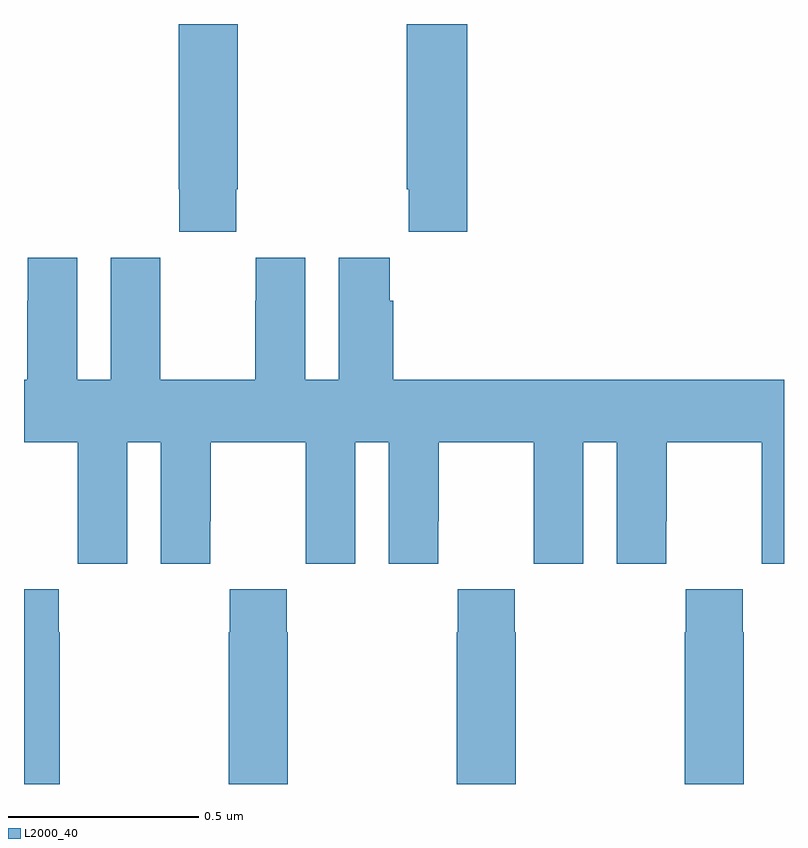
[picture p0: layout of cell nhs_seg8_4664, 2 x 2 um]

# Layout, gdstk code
import gdstk
lib = gdstk.Library(unit=1e-6, precision=1e-09)
def P(c, l, *ps):  # polygons
    for p in ps: c.add(gdstk.Polygon(p, *l))
L2000_40 = (2000, 40)

nhs_seg8_4664 = lib.new_cell('nhs_seg8_4664')
P(nhs_seg8_4664, L2000_40, [(173.559,1150.465),(173.562,1150.465),(173.562,1150.9),(173.407,1150.9),(173.407,1150.465),(173.409,1150.465),(173.409,1150.353),(173.559,1150.353)],
  [(174.167,1150.9),(174.007,1150.9),(174.007,1150.465),(174.013,1150.465),(174.013,1150.353),(174.167,1150.353)],
  [(173.272,1149.8),(173.36,1149.8),(173.36,1149.48),(173.49,1149.48),(173.49,1149.592),(173.491,1149.592),(173.491,1149.8),(173.741,1149.8),(173.741,1149.592),(173.742,1149.592),(173.742,1149.48),(173.872,1149.48),(173.872,1149.8),(173.96,1149.8),(173.96,1149.48),(174.09,1149.48),(174.09,1149.592),(174.091,1149.592),(174.091,1149.8),(174.341,1149.8),(174.341,1149.592),(174.342,1149.592),(174.342,1149.48),(174.472,1149.48),(174.472,1149.8),(174.56,1149.8),(174.56,1149.48),(174.69,1149.48),(174.69,1149.592),(174.691,1149.592),(174.691,1149.8),(174.941,1149.8),(174.941,1149.592),(174.942,1149.592),(174.942,1149.48),(175,1149.48),(175,1149.964),(173.972,1149.964),(173.972,1150.172),(173.962,1150.172),(173.962,1150.285),(173.828,1150.285),(173.828,1149.964),(173.74,1149.964),(173.74,1150.285),(173.61,1150.285),(173.61,1150.172),(173.609,1150.172),(173.609,1149.964),(173.359,1149.964),(173.359,1150.172),(173.358,1150.172),(173.358,1150.285),(173.228,1150.285),(173.228,1149.964),(173.14,1149.964),(173.14,1150.285),(173.01,1150.285),(173.01,1150.172),(173.009,1150.172),(173.009,1149.964),(173,1149.964),(173,1149.8),(173.141,1149.8),(173.141,1149.592),(173.142,1149.592),(173.142,1149.48),(173.272,1149.48)],
  [(173.694,1149.299),(173.691,1149.299),(173.691,1149.412),(173.541,1149.412),(173.541,1149.299),(173.539,1149.299),(173.539,1148.9),(173.694,1148.9)],
  [(174.294,1149.299),(174.291,1149.299),(174.291,1149.412),(174.141,1149.412),(174.141,1149.299),(174.139,1149.299),(174.139,1148.9),(174.294,1148.9)],
  [(174.894,1149.299),(174.891,1149.299),(174.891,1149.412),(174.741,1149.412),(174.741,1149.299),(174.739,1149.299),(174.739,1148.9),(174.894,1148.9)],
  [(173.094,1149.299),(173.091,1149.299),(173.091,1149.412),(173,1149.412),(173,1148.9),(173.094,1148.9)])

lib.write_gds('nhs_seg8_4664.gds')
